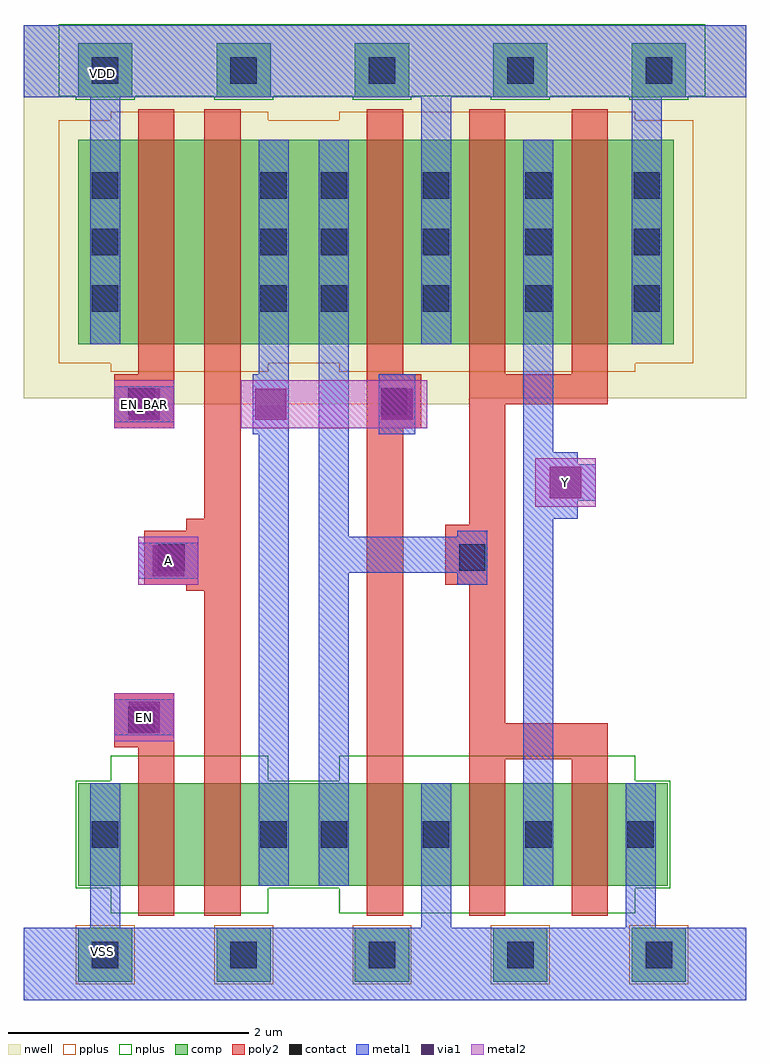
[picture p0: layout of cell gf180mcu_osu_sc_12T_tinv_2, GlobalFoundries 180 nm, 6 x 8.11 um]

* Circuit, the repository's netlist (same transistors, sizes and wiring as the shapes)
* Copyright 2022 Google LLC
*
* Licensed under the Apache License, Version 2.0 (the "License");
* you may not use this file except in compliance with the License.
* You may obtain a copy of the License at
*
*      http://www.apache.org/licenses/LICENSE-2.0
*
* Unless required by applicable law or agreed to in writing, software
* distributed under the License is distributed on an "AS IS" BASIS,
* WITHOUT WARRANTIES OR CONDITIONS OF ANY KIND, either express or implied.
* See the License for the specific language governing permissions and
* limitations under the License.

.option scale=0.05u

.subckt gf180mcu_osu_sc_12T_tinv_2 A Y EN EN_BAR
X0 a_36_19 A a_25_19 VSS nmos_3p3 w=17 l=6
X1 VSS a_36_19 Y VSS nmos_3p3 w=17 l=6
X2 a_36_19 A a_25_109 VDD pmos_3p3 w=34 l=6
X3 VSS a_36_19 a_36_19 VSS nmos_3p3 w=17 l=6
X4 a_25_109 EN_BAR VDD VDD pmos_3p3 w=34 l=6
X5 a_25_19 EN VSS VSS nmos_3p3 w=17 l=6
X6 Y a_36_19 VSS VSS nmos_3p3 w=17 l=6
X7 VDD a_36_19 Y VDD pmos_3p3 w=34 l=6
X8 Y a_36_19 VDD VDD pmos_3p3 w=34 l=6
X9 VDD a_36_19 a_36_19 VDD pmos_3p3 w=34 l=6
.ends

** hspice subcircuit dictionary

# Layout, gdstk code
import gdstk
lib = gdstk.Library(unit=1e-6, precision=1e-09)
def R(c, l, rs):  # rectangles x0, y0, x1, y1
    for r in rs: c.add(gdstk.rectangle(r[:2], r[2:], *l))
def A(c, l, x, y, w, h, nx, ny, dx, dy):  # array of equal rectangles
    R(c, l, [(x+i*dx, y+j*dy, x+i*dx+w, y+j*dy+h) for i in range(nx) for j in range(ny)])
nwell = (21, 0)
comp = (22, 0)
poly2 = (30, 0)
pplus = (31, 0)
nplus = (32, 0)
contact = (33, 0)
metal1 = (34, 0)
via1 = (35, 0)
metal2 = (36, 0)

gf180mcu_osu_sc_12t_tinv = lib.new_cell('gf180mcu_osu_sc_12T_tinv_2')
R(gf180mcu_osu_sc_12t_tinv, nwell, [(0.85,4.95,3.7,5), (0,5,6,8.1)])
A(gf180mcu_osu_sc_12t_tinv, comp, 0.45, 0.15, 0.45, 0.45, 5, 2, 1.15, 7.35)
R(gf180mcu_osu_sc_12t_tinv, comp, [(0.45,0.95,5.35,1.8), (0.45,5.45,5.4,7.15)])
A(gf180mcu_osu_sc_12t_tinv, poly2, 2.85, 5.2, 0.3, 2.2, 3, 1, 0.85, 0)
R(gf180mcu_osu_sc_12t_tinv, poly2, [(0.95,0.7,1.25,2.1), (1.5,0.7,1.8,3.4), (2.85,0.7,3.15,4.75), (3.7,0.7,4,2), (4.55,0.7,4.85,2), (3.7,2,4.85,2.3), (0.75,2.1,1.25,2.55), (3.7,2.3,4,3.45), (1.35,3.4,1.8,3.45), (1,3.45,1.8,3.9), (3.5,3.45,4,3.95), (1.35,3.9,1.8,4), (3.7,3.95,4,4.95), (1.5,4,1.8,7.4), (0.75,4.75,1.25,5.2), (2.85,4.75,3.3,5.2), (3.7,4.95,4.85,5.2), (0.95,5.2,1.25,7.4)])
A(gf180mcu_osu_sc_12t_tinv, pplus, 0.43, 0.13, 0.49, 0.49, 5, 1, 1.15, 0)
R(gf180mcu_osu_sc_12t_tinv, pplus, [(0.72,5.22,2.03,5.29), (2.62,5.22,5.08,5.29), (0.29,5.29,5.56,7.31), (0.72,7.31,2.03,7.38), (2.62,7.31,5.08,7.38)])
A(gf180mcu_osu_sc_12t_tinv, nplus, 0.43, 7.48, 0.49, 0.03, 5, 1, 1.15, 0)
R(gf180mcu_osu_sc_12t_tinv, nplus, [(0.72,0.72,2.03,0.93), (2.62,0.72,5.08,0.93), (0.43,0.93,5.37,1.82), (0.72,1.82,2.03,2.03), (2.62,1.82,5.08,2.03), (0.29,7.51,5.66,8.11)])
A(gf180mcu_osu_sc_12t_tinv, contact, 0.565, 0.265, 0.22, 0.22, 5, 2, 1.15, 7.35)
A(gf180mcu_osu_sc_12t_tinv, contact, 2.465, 1.265, 0.22, 0.22, 4, 1, 0.85, 0)
A(gf180mcu_osu_sc_12t_tinv, contact, 0.565, 5.72, 0.22, 0.22, 1, 3, 0, 0.47)
A(gf180mcu_osu_sc_12t_tinv, contact, 1.965, 5.72, 0.22, 0.22, 1, 3, 0, 0.47)
A(gf180mcu_osu_sc_12t_tinv, contact, 2.465, 5.72, 0.22, 0.22, 3, 3, 0.85, 0.47)
A(gf180mcu_osu_sc_12t_tinv, contact, 5.065, 5.72, 0.22, 0.22, 1, 3, 0, 0.47)
R(gf180mcu_osu_sc_12t_tinv, contact, [(0.565,1.265,0.785,1.485), (1.965,1.265,2.185,1.485), (0.865,2.215,1.085,2.435), (1.115,3.565,1.335,3.785), (3.615,3.565,3.835,3.785), (0.865,4.865,1.085,5.085), (2.965,4.865,3.185,5.085)])
R(gf180mcu_osu_sc_12t_tinv, metal1, [(0,0,6,0.6), (0.55,0.6,0.8,1.8), (3.3,0.6,3.55,1.8), (5,0.6,5.25,1.8), (1.95,0.95,2.2,4.7), (2.45,0.95,2.7,3.55), (4.15,0.95,4.4,4), (0.75,2.2,1.25,2.5), (3.6,3.45,3.85,3.55), (0.95,3.5,1.45,3.8), (2.45,3.55,3.85,3.85), (2.45,3.85,2.7,7.15), (3.6,3.85,3.85,3.9), (4.15,4,4.6,4.15), (4.15,4.15,4.75,4.45), (4.15,4.45,4.6,4.55), (4.15,4.55,4.4,7.15), (1.9,4.7,2.2,5.2), (2.95,4.7,3.25,5.2), (0.75,4.8,1.25,5.1), (1.95,5.2,2.2,7.15), (0.55,5.45,0.8,7.5), (3.3,5.45,3.55,7.5), (5.05,5.45,5.3,7.5), (0,7.5,6,8.1)])
A(gf180mcu_osu_sc_12t_tinv, via1, 0.87, 4.82, 0.26, 0.26, 3, 1, 1.05, 0)
R(gf180mcu_osu_sc_12t_tinv, via1, [(0.87,2.22,1.13,2.48), (1.07,3.52,1.33,3.78), (4.37,4.17,4.63,4.43)])
R(gf180mcu_osu_sc_12t_tinv, metal2, [(0.75,2.15,1.25,2.55), (0.95,3.45,1.45,3.85), (4.25,4.1,4.75,4.5), (0.75,4.75,1.25,5.15), (1.8,4.75,3.35,5.15)])
gf180mcu_osu_sc_12t_tinv.add(gdstk.Label('VDD', (0.65,7.7), layer=34, texttype=0))
gf180mcu_osu_sc_12t_tinv.add(gdstk.Label('VSS', (0.65,0.4), layer=34, texttype=0))
gf180mcu_osu_sc_12t_tinv.add(gdstk.Label('A', (1.2,3.65), layer=36, texttype=10))
gf180mcu_osu_sc_12t_tinv.add(gdstk.Label('Y', (4.5,4.3), layer=36, texttype=10))
gf180mcu_osu_sc_12t_tinv.add(gdstk.Label('EN', (1,2.35), layer=36, texttype=10))
gf180mcu_osu_sc_12t_tinv.add(gdstk.Label('EN_BAR', (1,4.95), layer=36, texttype=10))

lib.write_gds('gf180mcu_osu_sc_12T_tinv_2.gds')
